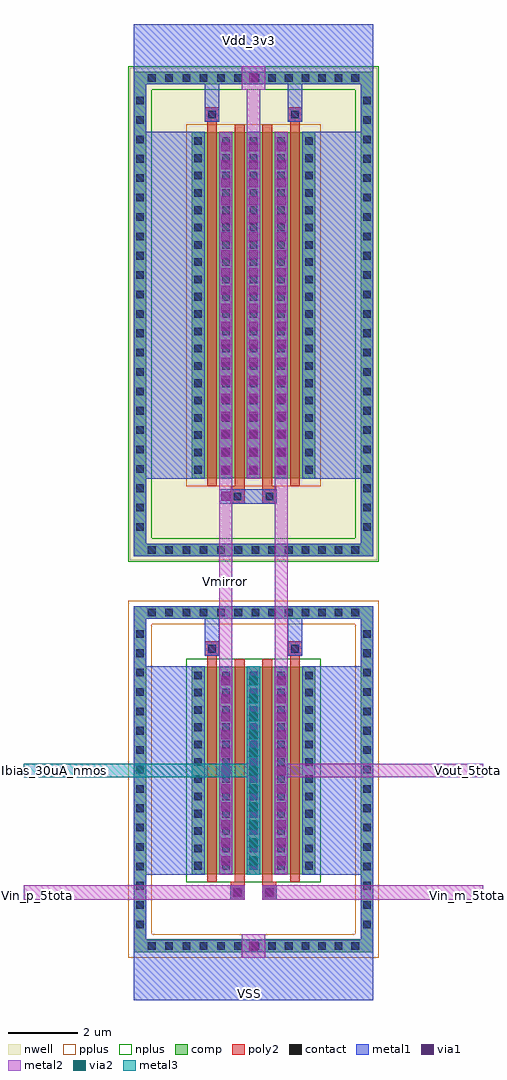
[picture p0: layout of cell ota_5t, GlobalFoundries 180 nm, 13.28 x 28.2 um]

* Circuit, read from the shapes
.subckt ota_5t Ibias_30uA_nmos VSS Vdd_3v3 Vin_m_5tota Vin_p_5tota Vmirror Vout_5tota
XM1 Vmirror VSS VSS VSS nfet_03v3 w=6u l=0.28u
XM2 Ibias_30uA_nmos Vin_p_5tota Vmirror VSS nfet_03v3 w=6u l=0.28u
XM3 Vout_5tota Vin_m_5tota Ibias_30uA_nmos VSS nfet_03v3 w=6u l=0.28u
XM4 VSS VSS Vout_5tota VSS nfet_03v3 w=6u l=0.28u
XM5 Vmirror Vdd_3v3 Vdd_3v3 Vdd_3v3 pfet_03v3 w=10u l=0.28u
XM6 Vdd_3v3 Vmirror Vmirror Vdd_3v3 pfet_03v3 w=10u l=0.28u
XM7 Vout_5tota Vmirror Vdd_3v3 Vdd_3v3 pfet_03v3 w=10u l=0.28u
XM8 Vdd_3v3 Vdd_3v3 Vout_5tota Vdd_3v3 pfet_03v3 w=10u l=0.28u
.ends

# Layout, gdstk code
import gdstk
lib = gdstk.Library(unit=1e-6, precision=1e-09)
def R(c, l, rs):  # rectangles x0, y0, x1, y1
    for r in rs: c.add(gdstk.rectangle(r[:2], r[2:], *l))
def A(c, l, x, y, w, h, nx, ny, dx, dy):  # array of equal rectangles
    R(c, l, [(x+i*dx, y+j*dy, x+i*dx+w, y+j*dy+h) for i in range(nx) for j in range(ny)])
nwell = (21, 0)
comp = (22, 0)
poly2 = (30, 0)
pplus = (31, 0)
nplus = (32, 0)
contact = (33, 0)
metal1 = (34, 0)
via1 = (35, 0)
metal2 = (36, 0)
via2 = (38, 0)
metal3 = (42, 0)

pfet = lib.new_cell('pfet')
R(pfet, nwell, [(-0.43,-0.43,3.99,10.43)])
R(pfet, comp, [(0,0,3.56,10)])
A(pfet, poly2, 0.44, -0.22, 0.28, 10.44, 4, 1, 0.8, 0)
R(pfet, pplus, [(-0.16,-0.23,3.72,10.23)])
A(pfet, contact, 0.07, 0.14, 0.22, 0.22, 5, 20, 0.8, 0.5)
A(pfet, metal1, -0.01, -0.01, 0.38, 10.02, 5, 1, 0.8, 0)

nfet = lib.new_cell('nfet')
R(nfet, comp, [(0,0,3.56,6)])
A(nfet, poly2, 0.44, -0.22, 0.28, 6.44, 4, 1, 0.8, 0)
R(nfet, nplus, [(-0.16,-0.23,3.72,6.23)])
A(nfet, contact, 0.07, 0.14, 0.22, 0.22, 5, 12, 0.8, 0.5)
A(nfet, metal1, -0.01, -0.01, 0.38, 6.02, 5, 1, 0.8, 0)

ota_5t = lib.new_cell('ota_5t')
R(ota_5t, nwell, [(16.98,-0.59,24.14,13.65)])
R(ota_5t, comp, [(17.1,-11.91,24.02,-11.54), (17.1,-11.54,17.46,-2.27), (23.66,-11.54,24.02,-2.27), (17.1,-2.27,24.02,-1.91), (17.1,-0.47,24.02,-0.11), (17.1,-0.11,17.46,13.17), (23.66,-0.11,24.02,13.17), (17.1,13.17,24.02,13.53)])
R(ota_5t, poly2, [(19.89,-10.39,20.31,-9.97), (20.81,-10.39,21.23,-9.97), (19.9,-9.97,20.3,-9.88), (20.82,-9.97,21.22,-9.88), (19.22,-3.44,19.5,-3.35), (21.62,-3.44,21.9,-3.35), (19.15,-3.35,19.57,-2.93), (21.55,-3.35,21.97,-2.93), (19.89,1.05,20.31,1.47), (19.89,1.05,20.31,1.47), (20.81,1.05,21.23,1.47), (20.81,1.05,21.23,1.47), (19.9,1.47,20.3,1.56), (20.82,1.47,21.22,1.56), (19.22,12,19.5,12.09), (21.62,12,21.9,12.09), (19.15,12.09,19.57,12.51), (21.55,12.09,21.97,12.51)])
R(ota_5t, pplus, [(16.94,-12.07,17.62,-11.47), (17.62,-12.07,23.5,-11.39), (23.5,-12.07,24.18,-11.47), (16.94,-11.47,17.62,-1.75), (23.5,-11.47,24.18,-1.75), (17.62,-2.43,23.5,-1.75)])
R(ota_5t, nplus, [(16.94,-0.63,17.62,13.69), (17.62,-0.63,23.5,0.05), (23.5,-0.63,24.18,13.69), (17.62,13.01,23.5,13.69)])
A(ota_5t, contact, 17.17, -11.22, 0.22, 0.22, 1, 16, 0, 0.56)
A(ota_5t, contact, 23.73, -11.22, 0.22, 0.22, 1, 16, 0, 0.56)
A(ota_5t, contact, 17.51, -0.4, 0.22, 0.22, 7, 1, 0.5, 0)
A(ota_5t, contact, 20.99, -0.4, 0.22, 0.22, 6, 1, 0.48, 0)
A(ota_5t, contact, 17.17, 0.265, 0.22, 0.22, 1, 23, 0, 0.56)
A(ota_5t, contact, 23.73, 0.265, 0.22, 0.22, 1, 23, 0, 0.56)
R(ota_5t, contact, [(17.51,-11.84,17.73,-11.62), (17.51,-11.84,17.73,-11.62), (18.01,-11.84,18.23,-11.62), (18.01,-11.84,18.23,-11.62), (18.51,-11.84,18.73,-11.62), (18.51,-11.84,18.73,-11.62), (19.01,-11.84,19.23,-11.62), (19.01,-11.84,19.23,-11.62), (19.51,-11.84,19.73,-11.62), (19.51,-11.84,19.73,-11.62), (20.01,-11.84,20.23,-11.62), (20.01,-11.84,20.23,-11.62), (20.51,-11.84,20.73,-11.62), (20.51,-11.84,20.73,-11.62), (20.99,-11.84,21.21,-11.62), (20.99,-11.84,21.21,-11.62), (21.47,-11.84,21.69,-11.62), (21.47,-11.84,21.69,-11.62), (21.95,-11.84,22.17,-11.62), (21.95,-11.84,22.17,-11.62), (22.43,-11.84,22.65,-11.62), (22.43,-11.84,22.65,-11.62), (22.91,-11.84,23.13,-11.62), (22.91,-11.84,23.13,-11.62), (23.39,-11.84,23.61,-11.62), (23.39,-11.84,23.61,-11.62), (19.99,-10.29,20.21,-10.07), (20.91,-10.29,21.13,-10.07), (19.25,-3.25,19.47,-3.03), (21.65,-3.25,21.87,-3.03), (17.51,-2.2,17.73,-1.98), (17.51,-2.2,17.73,-1.98), (18.01,-2.2,18.23,-1.98), (18.01,-2.2,18.23,-1.98), (18.51,-2.2,18.73,-1.98), (18.51,-2.2,18.73,-1.98), (19.01,-2.2,19.23,-1.98), (19.01,-2.2,19.23,-1.98), (19.51,-2.2,19.73,-1.98), (19.51,-2.2,19.73,-1.98), (20.01,-2.2,20.23,-1.98), (20.01,-2.2,20.23,-1.98), (20.51,-2.2,20.73,-1.98), (20.51,-2.2,20.73,-1.98), (20.99,-2.2,21.21,-1.98), (20.99,-2.2,21.21,-1.98), (21.47,-2.2,21.69,-1.98), (21.47,-2.2,21.69,-1.98), (21.95,-2.2,22.17,-1.98), (21.95,-2.2,22.17,-1.98), (22.43,-2.2,22.65,-1.98), (22.43,-2.2,22.65,-1.98), (22.91,-2.2,23.13,-1.98), (22.91,-2.2,23.13,-1.98), (23.39,-2.2,23.61,-1.98), (23.39,-2.2,23.61,-1.98), (19.99,1.15,20.21,1.37), (20.91,1.15,21.13,1.37), (19.25,12.19,19.47,12.41), (21.65,12.19,21.87,12.41), (17.51,13.24,17.73,13.46), (17.51,13.24,17.73,13.46), (18.01,13.24,18.23,13.46), (18.01,13.24,18.23,13.46), (18.51,13.24,18.73,13.46), (18.51,13.24,18.73,13.46), (19.01,13.24,19.23,13.46), (19.01,13.24,19.23,13.46), (19.51,13.24,19.73,13.46), (19.51,13.24,19.73,13.46), (20.01,13.24,20.23,13.46), (20.01,13.24,20.23,13.46), (20.51,13.24,20.73,13.46), (20.51,13.24,20.73,13.46), (20.99,13.24,21.21,13.46), (20.99,13.24,21.21,13.46), (21.47,13.24,21.69,13.46), (21.47,13.24,21.69,13.46), (21.95,13.24,22.17,13.46), (21.95,13.24,22.17,13.46), (22.43,13.24,22.65,13.46), (22.43,13.24,22.65,13.46), (22.91,13.24,23.13,13.46), (22.91,13.24,23.13,13.46), (23.39,13.24,23.61,13.46), (23.39,13.24,23.61,13.46)])
R(ota_5t, metal1, [(17.1,-13.29,24.02,-11.55), (17.1,-11.55,17.46,-2.27), (23.66,-11.55,24.02,-2.27), (19.89,-10.39,20.31,-9.97), (20.81,-10.39,21.23,-9.97), (17.46,-9.67,18.77,-3.65), (22.35,-9.67,23.66,-3.65), (19.15,-3.35,19.57,-2.93), (21.55,-3.35,21.97,-2.93), (19.15,-2.93,19.57,-2.27), (21.55,-2.93,21.97,-2.27), (17.1,-2.27,24.02,-1.91), (17.1,-0.47,24.02,-0.11), (17.1,-0.11,17.46,13.17), (23.66,-0.11,24.02,13.17), (19.57,1.05,21.23,1.47), (17.46,1.77,18.77,11.79), (22.35,1.77,23.66,11.79), (19.15,12.09,19.57,12.51), (21.55,12.09,21.97,12.51), (19.15,12.51,19.57,13.17), (21.55,12.51,21.97,13.17), (17.1,13.17,24.02,14.91)])
A(ota_5t, via1, 19.63, -9.39, 0.26, 0.26, 3, 11, 0.8, 0.52)
A(ota_5t, via1, 19.63, 1.88, 0.26, 0.26, 3, 19, 0.8, 0.52)
R(ota_5t, via1, [(20.43,-11.86,20.69,-11.6), (19.97,-10.31,20.23,-10.05), (20.89,-10.31,21.15,-10.05), (19.63,1.13,19.89,1.39), (20.43,13.22,20.69,13.48)])
R(ota_5t, metal2, [(20.22,-12.07,20.9,-11.39), (13.92,-10.39,19.89,-9.97), (19.89,-10.39,20.31,-9.97), (20.81,-10.39,21.23,-9.97), (21.23,-10.39,27.2,-9.97), (19.57,-9.67,19.95,11.79), (20.37,-9.67,20.75,-3.65), (21.17,-9.67,21.55,11.79), (21.55,-6.85,27.2,-6.47), (20.37,1.77,20.75,13.01), (20.22,13.01,20.9,13.69)])
A(ota_5t, via2, 20.43, -9.39, 0.26, 0.26, 1, 11, 0, 0.52)
R(ota_5t, metal3, [(20.37,-9.67,20.75,-3.65), (13.92,-6.85,20.37,-6.47)])
ota_5t.add(gdstk.Reference(pfet, (18.78,11.78), x_reflection=True))
ota_5t.add(gdstk.Reference(nfet, (18.78,-3.66), x_reflection=True))
ota_5t.add(gdstk.Label('Vmirror', (19.76,-1.19), layer=36, texttype=10))
ota_5t.add(gdstk.Label('Vout_5tota', (26.75,-6.66), layer=36, texttype=10))
ota_5t.add(gdstk.Label('Vin_p_5tota', (14.13,-10.26), layer=36, texttype=10))
ota_5t.add(gdstk.Label('Vin_m_5tota', (26.75,-10.26), layer=36, texttype=10))
ota_5t.add(gdstk.Label('Ibias_30uA_nmos', (14.13,-6.66), layer=42, texttype=10))
ota_5t.add(gdstk.Label('VSS', (20.44,-13.11), layer=34, texttype=10))
ota_5t.add(gdstk.Label('Vdd_3v3', (20.44,14.42), layer=34, texttype=10))

lib.write_gds('ota_5t.gds')
